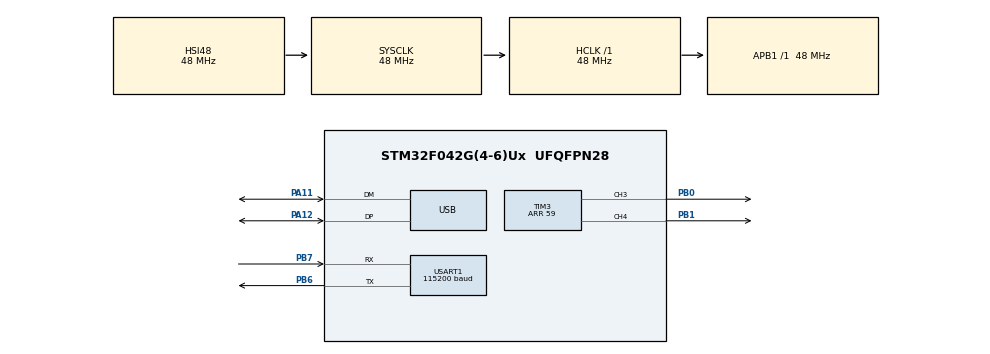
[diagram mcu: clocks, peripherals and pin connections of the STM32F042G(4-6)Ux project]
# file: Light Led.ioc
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Dma.Request0=TIM3_CH3
Dma.Request1=TIM3_CH4/UP
Dma.TIM3_CH3.0.Direction=DMA_MEMORY_TO_PERIPH
Dma.TIM3_CH3.0.Instance=DMA1_Channel2
Dma.TIM3_CH3.0.MemDataAlignment=DMA_MDATAALIGN_HALFWORD
Dma.TIM3_CH3.0.MemInc=DMA_MINC_ENABLE
Dma.TIM3_CH3.0.Mode=DMA_NORMAL
Dma.TIM3_CH3.0.PeriphDataAlignment=DMA_PDATAALIGN_HALFWORD
Dma.TIM3_CH3.0.PeriphInc=DMA_PINC_DISABLE
Dma.TIM3_CH3.0.Priority=DMA_PRIORITY_HIGH
Dma.TIM3_CH4/UP.1.Direction=DMA_MEMORY_TO_PERIPH
Dma.TIM3_CH4/UP.1.Instance=DMA1_Channel3
Dma.TIM3_CH4/UP.1.MemDataAlignment=DMA_MDATAALIGN_HALFWORD
Dma.TIM3_CH4/UP.1.MemInc=DMA_MINC_ENABLE
Dma.TIM3_CH4/UP.1.Mode=DMA_NORMAL
Dma.TIM3_CH4/UP.1.PeriphDataAlignment=DMA_PDATAALIGN_HALFWORD
Dma.TIM3_CH4/UP.1.PeriphInc=DMA_PINC_DISABLE
Dma.TIM3_CH4/UP.1.Priority=DMA_PRIORITY_HIGH
Mcu.Family=STM32F0
Mcu.Name=STM32F042G(4-6)Ux
Mcu.Package=UFQFPN28
NVIC.DMA1_Channel2_3_IRQn=true\:0\:0\:false\:false\:true\:false\:true\:true
PA11.Mode=Device
PA11.Signal=USB_DM
PA12.Mode=Device
PA12.Signal=USB_DP
PA13.Mode=Serial_Wire
PA13.Signal=SYS_SWDIO
PA14.Mode=Serial_Wire
PA14.Signal=SYS_SWCLK
PB0.Signal=S_TIM3_CH3
PB1.Signal=S_TIM3_CH4
PB6.Mode=Asynchronous
PB6.Signal=USART1_TX
PB7.Mode=Asynchronous
PB7.Signal=USART1_RX
ProjectManager.HeapSize=0x200
ProjectManager.StackSize=0x400
ProjectManager.TargetToolchain=MDK-ARM V5.32
RCC.AHBFreq_Value=48000000
RCC.APB1Freq_Value=48000000
RCC.APB1TimFreq_Value=48000000
RCC.HCLKFreq_Value=48000000
RCC.SYSCLKFreq_VALUE=48000000
RCC.SYSCLKSource=RCC_SYSCLKSOURCE_HSI48
SH.S_TIM3_CH3.0=TIM3_CH3,PWM Generation3 CH3
SH.S_TIM3_CH4.0=TIM3_CH4,PWM Generation4 CH4
TIM1.ClockDivision=TIM_CLOCKDIVISION_DIV2
TIM1.Period=59
TIM3.Channel-PWM\ Generation3\ CH3=TIM_CHANNEL_3
TIM3.Channel-PWM\ Generation4\ CH4=TIM_CHANNEL_4
TIM3.Period=59
USART1.BaudRate=115200
USART1.VirtualMode-Asynchronous=VM_ASYNC
VP_SYS_VS_PINREMAP.Mode=PINREMAP
VP_TIM1_VS_ClockSourceINT.Mode=Internal
VP_TIM3_VS_ClockSourceINT.Mode=Internal
board=custom

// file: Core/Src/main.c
/* USER CODE BEGIN Header */
/**
  ******************************************************************************
  * @file           : main.c
  * @brief          : Main program body
  ******************************************************************************
  * @attention
  *
  * Copyright (c) 2026 STMicroelectronics.
  * All rights reserved.
  *
  * This software is licensed under terms that can be found in the LICENSE file
  * in the root directory of this software component.
  * If no LICENSE file comes with this software, it is provided AS-IS.
  *
  ******************************************************************************
  */
/* USER CODE END Header */
#include "main.h"
#include "dma.h"
#include "tim.h"
#include "usart.h"
#include "usb.h"
#include "gpio.h"

/* USER CODE BEGIN PD */
#define WS2812_LED_COUNT          10U
#define WS2812_BITS_PER_LED       24U
#define WS2812_RESET_SLOTS        64U
#define WS2812_BUFFER_SIZE        ((WS2812_LED_COUNT * WS2812_BITS_PER_LED) + WS2812_RESET_SLOTS)

/* TIM3 runs at 48 MHz with ARR=59: 19 ticks encode 0, 38 ticks encode 1. */
#define WS2812_DUTY_0             19U
#define WS2812_DUTY_1             38U
#define WS2812_DMA_TIMEOUT_MS     100U
#define WS2812_TEST_BRIGHTNESS    16U
/* USER CODE END PD */

/* USER CODE BEGIN PV */
static uint16_t ws2812_pwm_buffer[WS2812_BUFFER_SIZE];
static volatile uint8_t ws2812_dma_complete;
/* USER CODE END PV */

void SystemClock_Config(void);
/* USER CODE BEGIN PFP */
static void WS2812_FillSolidColor(uint8_t red, uint8_t green, uint8_t blue);
static HAL_StatusTypeDef WS2812_Send(uint32_t channel);
/* USER CODE END PFP */

/* USER CODE BEGIN 0 */

/**
  * @brief Convert one solid RGB color into a WS2812B PWM duty-cycle stream.
  * @note  WS2812B expects each pixel in GRB order, most-significant bit first.
  */
static void WS2812_FillSolidColor(uint8_t red, uint8_t green, uint8_t blue)
{
  uint32_t color = ((uint32_t)green << 16U) |
                   ((uint32_t)red << 8U) |
                   (uint32_t)blue;
  uint32_t index = 0U;

  for (uint32_t led = 0U; led < WS2812_LED_COUNT; led++)
  {
    for (uint32_t bit = 0U; bit < WS2812_BITS_PER_LED; bit++)
    {
      uint32_t mask = 1UL << (23U - bit);
      ws2812_pwm_buffer[index++] = ((color & mask) != 0U) ?
                                    WS2812_DUTY_1 : WS2812_DUTY_0;
    }
  }

  /* A low level longer than 50 us makes the LEDs latch the received color. */
  while (index < WS2812_BUFFER_SIZE)
  {
    ws2812_pwm_buffer[index++] = 0U;
  }
}

/**
  * @brief Send the prepared PWM stream through one TIM3 channel.
  */
static HAL_StatusTypeDef WS2812_Send(uint32_t channel)
{
  HAL_StatusTypeDef status;
  uint32_t start_tick;

  ws2812_dma_complete = 0U;
  __HAL_TIM_SET_COMPARE(&htim3, channel, 0U);
  __HAL_TIM_SET_COUNTER(&htim3, 0U);

  status = HAL_TIM_PWM_Start_DMA(&htim3,
                                 channel,
                                 (const uint32_t *)ws2812_pwm_buffer,
                                 (uint16_t)WS2812_BUFFER_SIZE);
  if (status != HAL_OK)
  {
    return status;
  }

  start_tick = HAL_GetTick();
  while (ws2812_dma_complete == 0U)
  {
    if ((HAL_GetTick() - start_tick) >= WS2812_DMA_TIMEOUT_MS)
    {
      (void)HAL_TIM_PWM_Stop_DMA(&htim3, channel);
      __HAL_TIM_SET_COMPARE(&htim3, channel, 0U);
      return HAL_TIMEOUT;
    }
  }

  (void)HAL_TIM_PWM_Stop_DMA(&htim3, channel);
  __HAL_TIM_SET_COMPARE(&htim3, channel, 0U);
  return HAL_OK;
}

/* USER CODE END 0 */

int main(void)
{

  /* MCU Configuration--------------------------------------------------------*/

  /* Reset of all peripherals, Initializes the Flash interface and the Systick. */
  HAL_Init();

  /* Configure the system clock */
  SystemClock_Config();

  /* Initialize all configured peripherals */
  MX_GPIO_Init();
  MX_DMA_Init();
  MX_TIM1_Init();
  MX_USART1_UART_Init();
  MX_USB_PCD_Init();
  MX_TIM3_Init();
  /* USER CODE BEGIN 2 */

  /* Allow the 5 V LED supply and the level shifter to become stable. */
  HAL_Delay(100U);

  /* LED1_DATA on PB0/TIM3_CH3: ten low-brightness red pixels. */
  WS2812_FillSolidColor(WS2812_TEST_BRIGHTNESS, 0U, 0U);
  if (WS2812_Send(TIM_CHANNEL_3) != HAL_OK)
  {
    Error_Handler();
  }

  /* LED2_DATA on PB1/TIM3_CH4: ten low-brightness green pixels. */
  WS2812_FillSolidColor(0U, WS2812_TEST_BRIGHTNESS, 0U);
  if (WS2812_Send(TIM_CHANNEL_4) != HAL_OK)
  {
    Error_Handler();
  }

  /* USER CODE END 2 */

  /* Infinite loop */
  while (1)
  {

  }
}

void SystemClock_Config(void)
{
  RCC_OscInitTypeDef RCC_OscInitStruct = {0};
  RCC_ClkInitTypeDef RCC_ClkInitStruct = {0};
  RCC_PeriphCLKInitTypeDef PeriphClkInit = {0};

  /** Initializes the RCC Oscillators according to the specified parameters
  * in the RCC_OscInitTypeDef structure.
  */
  RCC_OscInitStruct.OscillatorType = RCC_OSCILLATORTYPE_HSI48;
  RCC_OscInitStruct.HSI48State = RCC_HSI48_ON;
  RCC_OscInitStruct.PLL.PLLState = RCC_PLL_NONE;
  if (HAL_RCC_OscConfig(&RCC_OscInitStruct) != HAL_OK)
  {
    Error_Handler();
  }

  /** Initializes the CPU, AHB and APB buses clocks
  */
  RCC_ClkInitStruct.ClockType = RCC_CLOCKTYPE_HCLK|RCC_CLOCKTYPE_SYSCLK
                              |RCC_CLOCKTYPE_PCLK1;
  RCC_ClkInitStruct.SYSCLKSource = RCC_SYSCLKSOURCE_HSI48;
  RCC_ClkInitStruct.AHBCLKDivider = RCC_SYSCLK_DIV1;
  RCC_ClkInitStruct.APB1CLKDivider = RCC_HCLK_DIV1;

  if (HAL_RCC_ClockConfig(&RCC_ClkInitStruct, FLASH_LATENCY_1) != HAL_OK)
  {
    Error_Handler();
  }
  PeriphClkInit.PeriphClockSelection = RCC_PERIPHCLK_USB|RCC_PERIPHCLK_USART1;
  PeriphClkInit.Usart1ClockSelection = RCC_USART1CLKSOURCE_PCLK1;
  PeriphClkInit.UsbClockSelection = RCC_USBCLKSOURCE_HSI48;

  if (HAL_RCCEx_PeriphCLKConfig(&PeriphClkInit) != HAL_OK)
  {
    Error_Handler();
  }
}

/* USER CODE BEGIN 4 */

/**
  * @brief Called by the HAL after one TIM PWM DMA transfer finishes.
  */
void HAL_TIM_PWM_PulseFinishedCallback(TIM_HandleTypeDef *htim)
{
  if (htim->Instance == TIM3)
  {
    ws2812_dma_complete = 1U;
  }
}

/* USER CODE END 4 */

void Error_Handler(void)
{
  __disable_irq();
  while (1)
  {
  }
}
